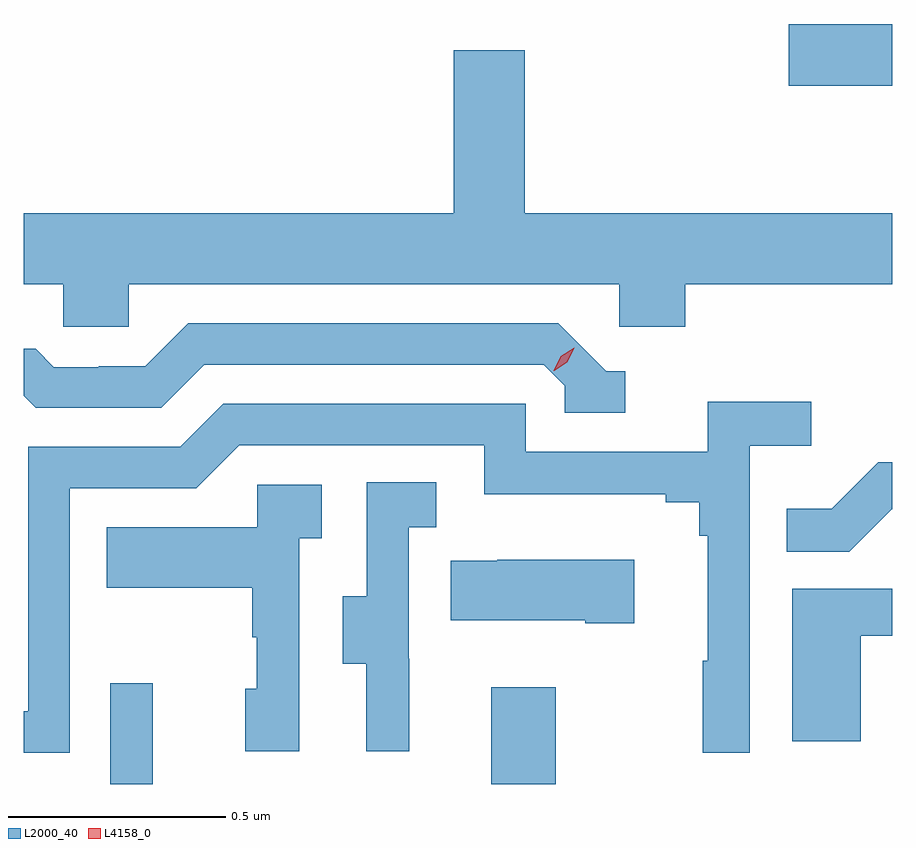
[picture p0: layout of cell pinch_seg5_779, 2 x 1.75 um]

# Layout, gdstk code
import gdstk
lib = gdstk.Library(unit=1e-6, precision=1e-09)
def R(c, l, rs):  # rectangles x0, y0, x1, y1
    for r in rs: c.add(gdstk.rectangle(r[:2], r[2:], *l))
def P(c, l, *ps):  # polygons
    for p in ps: c.add(gdstk.Polygon(p, *l))
L2000_40 = (2000, 40)
L4158_0 = (4158, 0)

pinch_seg5_779 = lib.new_cell('pinch_seg5_779')
R(pinch_seg5_779, L2000_40, [(835.545,894.237,835.643,894.469), (836.423,894.237,836.571,894.46), (837.108,895.846,837.346,895.988)])
P(pinch_seg5_779, L2000_40, [(835.587,895.388),(836.718,895.388),(836.718,895.29),(836.87,895.29),(836.87,895.388),(837.346,895.388),(837.346,895.552),(836.5,895.552),(836.5,895.927),(836.336,895.927),(836.336,895.552),(835.346,895.552),(835.346,895.388),(835.437,895.388),(835.437,895.29),(835.587,895.29)],
  [(836.731,895.188),(836.688,895.188),(836.577,895.299),(835.724,895.299),(835.625,895.2),(835.518,895.2),(835.518,895.197),(835.415,895.197),(835.373,895.24),(835.346,895.24),(835.346,895.131),(835.373,895.104),(835.662,895.104),(835.761,895.203),(836.544,895.203),(836.592,895.155),(836.592,895.092),(836.731,895.092)],
  [(835.452,894.918),(835.743,894.918),(835.842,895.017),(836.406,895.017),(836.406,894.905),(836.825,894.905),(836.825,894.886),(836.902,894.886),(836.902,894.809),(836.921,894.809),(836.921,894.521),(836.91,894.521),(836.91,894.309),(837.018,894.309),(837.018,895.016),(837.16,895.016),(837.16,895.118),(836.921,895.118),(836.921,895.002),(836.502,895.002),(836.502,895.113),(835.805,895.113),(835.706,895.014),(835.356,895.014),(835.356,894.405),(835.346,894.405),(835.346,894.309),(835.452,894.309)],
  [(837.345,894.87),(837.346,894.87),(837.346,894.978),(837.314,894.978),(837.207,894.871),(837.103,894.871),(837.103,894.772),(837.247,894.772)],
  [(836.234,894.525),(836.232,894.525),(836.232,894.829),(836.296,894.829),(836.296,894.932),(836.136,894.932),(836.136,894.669),(836.081,894.669),(836.081,894.514),(836.135,894.514),(836.135,894.312),(836.234,894.312)],
  [(835.98,894.803),(836.032,894.803),(836.032,894.927),(835.884,894.927),(835.884,894.829),(835.537,894.829),(835.537,894.689),(835.872,894.689),(835.872,894.575),(835.882,894.575),(835.882,894.456),(835.856,894.456),(835.856,894.312),(835.98,894.312)],
  [(836.752,894.754),(836.437,894.754),(836.437,894.751),(836.329,894.751),(836.329,894.614),(836.639,894.614),(836.639,894.607),(836.752,894.607)],
  [(837.274,894.579),(837.346,894.579),(837.346,894.687),(837.116,894.687),(837.116,894.336),(837.274,894.336)])
P(pinch_seg5_779, L4158_0, [(836.567,895.189),(836.567,895.19),(836.583,895.222),(836.614,895.242),(836.614,895.242),(836.614,895.242),(836.598,895.209),(836.568,895.189)])

lib.write_gds('pinch_seg5_779.gds')
